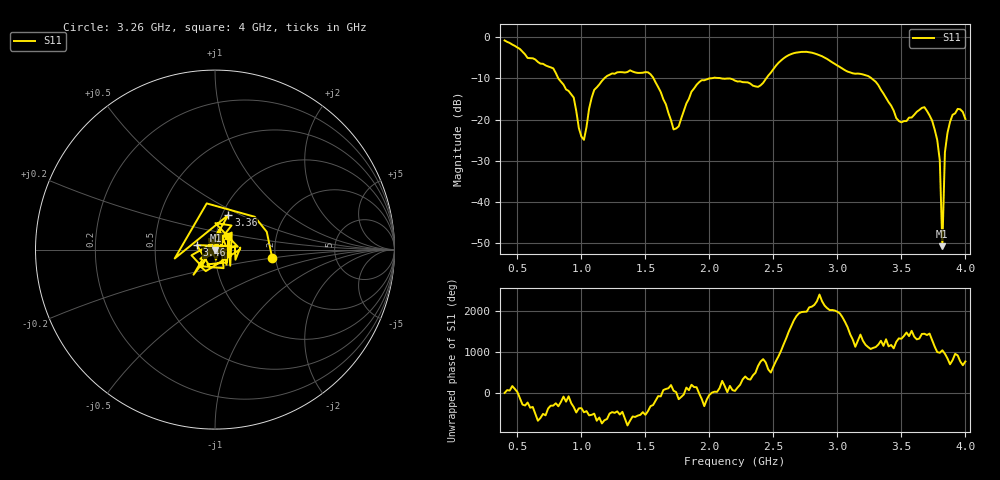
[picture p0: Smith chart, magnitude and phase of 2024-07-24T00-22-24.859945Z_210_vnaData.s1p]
!Created with skrf (http://scikit-rf.org).
# Hz S RI R 50.0
!freq ReS11 ImS11
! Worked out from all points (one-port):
!   181 points, 400 MHz to 4 GHz, reference 50 ohm
!   lowest |S11| = -50.7 dB at 3.82 GHz (marker M1), VSWR 1.01, Z = 50.2 - j0.19 ohm
!   |S11| at or under -10 dB: 819.5 MHz to 1.178 GHz (359 MHz wide, 35.9 % of centre); 1.564 GHz to 2.002 GHz (438.6 MHz wide, 24.6 % of centre); 3.267 GHz to end of sweep (the widest 3 of 4)
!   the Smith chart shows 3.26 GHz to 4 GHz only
!   S11 on the Smith chart (normalised r, x): 3.26 GHz: 1.92, -0.21; 3.36 GHz: 1.07, +0.43; 3.46 GHz: 0.82, +0.04; 4 GHz: 1.14, +0.17
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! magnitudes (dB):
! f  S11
! 400 MHz  -0.8
! 780 MHz  -7.6
! 860 MHz  -11.5
! 940 MHz  -14.7
! 980 MHz  -22.1
! 1.02 GHz  -24.9
! 1.1 GHz  -12.8
! 1.3 GHz  -8.5
! 1.54 GHz  -9.0
! 1.72 GHz  -22.4
! 1.76 GHz  -21.7
! 1.92 GHz  -10.9
! 2.2 GHz  -10.5
! 2.38 GHz  -12.1
! 2.66 GHz  -3.9
! 3.1 GHz  -8.5
! 3.26 GHz  -9.8
! 3.36 GHz  -13.7
! 3.46 GHz  -19.6
! 3.56 GHz  -19.5
! 3.68 GHz  -17.0
! 3.76 GHz  -22.4
! 3.8 GHz  -29.9
! 3.82 GHz  -50.7
! 3.84 GHz  -27.9
! 3.86 GHz  -23.2
! 3.94 GHz  -17.4
! 4 GHz  -19.9
